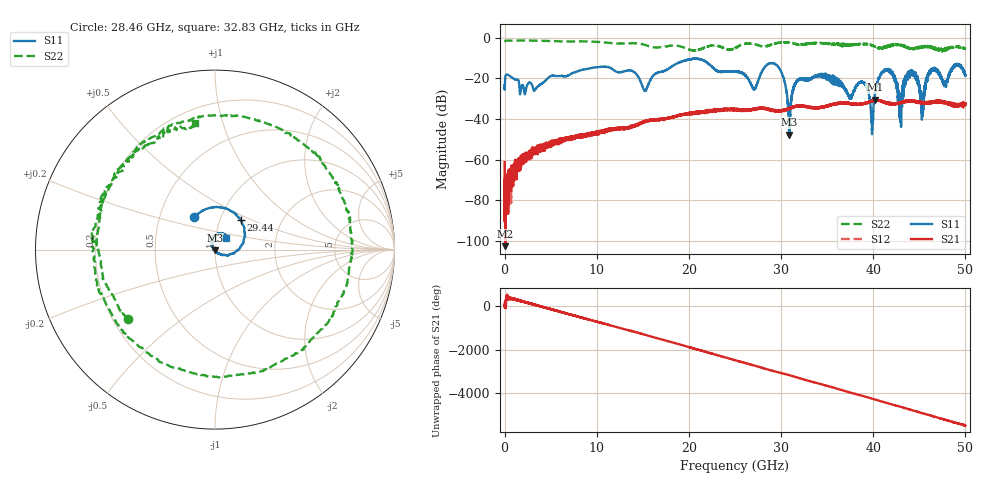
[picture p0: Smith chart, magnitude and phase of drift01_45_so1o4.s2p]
!Created with skrf (http://scikit-rf.org).
# Hz S RI R 50.0
!freq ReS11 ImS11 ReS21 ImS21 ReS12 ImS12 ReS22 ImS22
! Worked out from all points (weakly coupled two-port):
!   10001 points, 300 kHz to 50 GHz, reference 50 ohm
!   highest |S21| = -30.59 dB at 40.16 GHz (marker M1); lowest = -102.7 dB at 95.3 MHz (marker M2)
!   lowest |S11| = -47.7 dB at 30.87 GHz (marker M3), VSWR 1.01, Z = 49.9 - j0.393 ohm
!   |S11| at or under -10 dB: start of sweep to end of sweep
!   |S22| runs from -6.8 to -1.4 dB; largest |S21 - S12| = 0.004
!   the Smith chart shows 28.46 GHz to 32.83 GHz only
!   S11 on the Smith chart (normalised r, x): 28.46 GHz: 0.75, +0.28; 29.44 GHz: 1.25, +0.44; 32.83 GHz: 1.13, +0.15
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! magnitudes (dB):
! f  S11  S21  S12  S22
! 300 kHz  -23.3  -61.2  -68.5  -2.1
! 95.3 MHz  -18.8  -102.7  -81.4  -1.5
! 2.885 GHz  -22.5  -55.1  -58.4  -1.4
! 8.335 GHz  -15.9  -47.9  -48.8  -1.8
! 13.78 GHz  -16.3  -43.8  -43.6  -2.7
! 15.23 GHz  -26.3  -41.2  -41.3  -3.6
! 16.67 GHz  -17.1  -40.2  -40.6  -4.8
! 25 GHz  -16.7  -35.6  -35.4  -5.1
! 27.11 GHz  -25.1  -35.2  -35.1  -3.2
! 28.46 GHz  -13.4  -35.2  -35.0  -4.2
! 29.44 GHz  -13.2  -35.8  -36.1  -2.7
! 30.87 GHz  -47.7  -35.0  -34.8  -2.4
! 31.61 GHz  -22.1  -33.9  -33.8  -3.1
! 32.83 GHz  -20.8  -34.0  -33.8  -2.9
! 33.34 GHz  -19.8  -34.4  -34.5  -2.7
! 40.16 GHz  -29.2  -30.6  -30.9  -4.5
! 41.67 GHz  -16.2  -32.4  -32.5  -4.5
! 42.91 GHz  -31.7  -32.0  -32.3  -3.4
! 43.97 GHz  -18.0  -31.1  -31.2  -5.4
! 45.31 GHz  -36.7  -31.9  -31.9  -4.4
! 46.42 GHz  -15.5  -31.8  -31.9  -4.7
! 50 GHz  -18.3  -32.3  -33.2  -5.4
